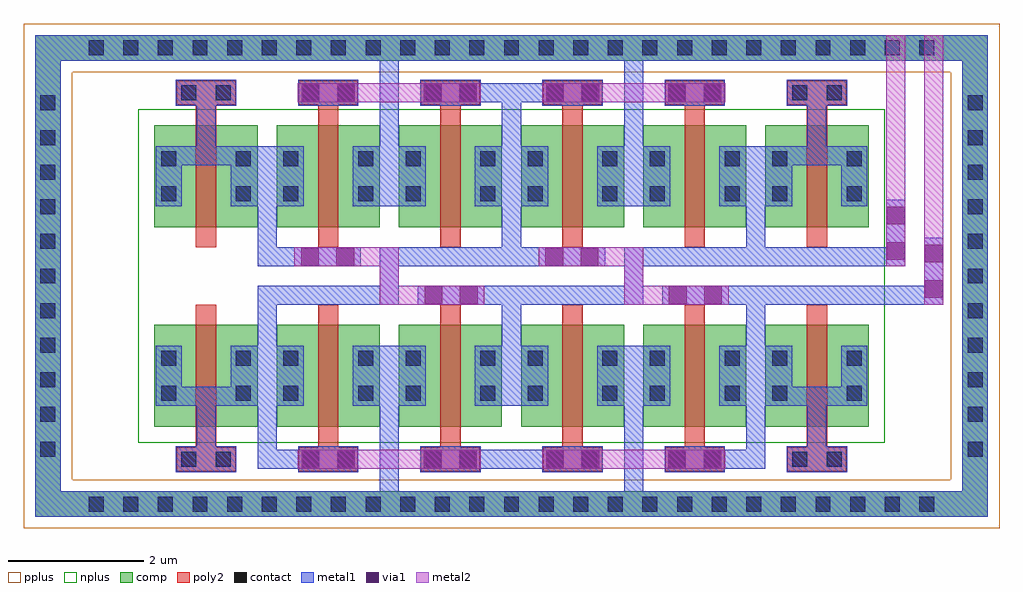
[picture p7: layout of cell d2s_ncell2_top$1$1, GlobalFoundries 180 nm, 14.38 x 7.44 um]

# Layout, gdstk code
import gdstk
lib = gdstk.Library(unit=1e-6, precision=5e-09)
def R(c, l, rs):  # rectangles x0, y0, x1, y1
    for r in rs: c.add(gdstk.rectangle(r[:2], r[2:], *l))
def A(c, l, x, y, w, h, nx, ny, dx, dy):  # array of equal rectangles
    R(c, l, [(x+i*dx, y+j*dy, x+i*dx+w, y+j*dy+h) for i in range(nx) for j in range(ny)])
comp = (22, 0)
poly2 = (30, 0)
pplus = (31, 0)
nplus = (32, 0)
contact = (33, 0)
metal1 = (34, 0)
via1 = (35, 0)
metal2 = (36, 0)

d2s_ncell2_1_1_1_1_1 = lib.new_cell('d2s_ncell2_1$1$1$1$1')
R(d2s_ncell2_1_1_1_1_1, comp, [(0,0.3,0.42,1.8), (0.42,0.3,1.1,1.8), (1.1,0.3,1.52,1.8)])
R(d2s_ncell2_1_1_1_1_1, poly2, [(0.61,0,0.91,2.1)])
R(d2s_ncell2_1_1_1_1_1, contact, [(0.1,0.685,0.32,0.905), (1.2,0.685,1.42,0.905), (0.1,1.195,0.32,1.415), (1.2,1.195,1.42,1.415)])
R(d2s_ncell2_1_1_1_1_1, metal1, [(0.02,0.605,0.4,1.495), (1.12,0.605,1.5,1.495)])

d2s_ncell2_4_1_1_1 = lib.new_cell('d2s_ncell2_4$1$1$1')
A(d2s_ncell2_4_1_1_1, poly2, 0.325, 2.1, 0.87, 0.36, 6, 1, 1.8, 0)
R(d2s_ncell2_4_1_1_1, contact, [(0.395,2.17,0.615,2.39), (0.905,2.17,1.125,2.39), (2.195,2.17,2.415,2.39), (2.705,2.17,2.925,2.39), (3.995,2.17,4.215,2.39), (4.505,2.17,4.725,2.39), (5.795,2.17,6.015,2.39), (6.305,2.17,6.525,2.39), (7.595,2.17,7.815,2.39), (8.105,2.17,8.325,2.39), (9.395,2.17,9.615,2.39), (9.905,2.17,10.125,2.39)])
A(d2s_ncell2_4_1_1_1, metal1, 1.5, 0.605, 0.32, 0.89, 5, 1, 1.8, 0)
A(d2s_ncell2_4_1_1_1, metal1, 0.315, 2.09, 0.89, 0.38, 6, 1, 1.8, 0)
R(d2s_ncell2_4_1_1_1, via1, [(2.17,2.15,2.43,2.41), (2.69,2.15,2.95,2.41), (3.97,2.15,4.23,2.41), (4.49,2.15,4.75,2.41), (5.77,2.15,6.03,2.41), (6.29,2.15,6.55,2.41), (7.57,2.15,7.83,2.41), (8.09,2.15,8.35,2.41)])
d2s_ncell2_4_1_1_1.add(gdstk.FlexPath([(9.4,1.355),(10.12,1.355)], 0.28, ends="flush", simple_path=True, layer=34, datatype=0))  # metal1
d2s_ncell2_4_1_1_1.add(gdstk.FlexPath([(9.76,2.09),(9.76,1.495)], 0.28, ends="flush", simple_path=True, layer=34, datatype=0))  # metal1
d2s_ncell2_4_1_1_1.add(gdstk.FlexPath([(0.4,1.355),(1.12,1.355)], 0.28, ends="flush", simple_path=True, layer=34, datatype=0))  # metal1
d2s_ncell2_4_1_1_1.add(gdstk.FlexPath([(0.76,2.09),(0.76,1.495)], 0.28, ends="flush", simple_path=True, layer=34, datatype=0))  # metal1
d2s_ncell2_4_1_1_1.add(gdstk.FlexPath([(2.11,2.28),(4.81,2.28)], 0.28, ends="flush", simple_path=True, layer=36, datatype=0))  # metal2
d2s_ncell2_4_1_1_1.add(gdstk.FlexPath([(5.71,2.28),(8.41,2.28)], 0.28, ends="flush", simple_path=True, layer=36, datatype=0))  # metal2
d2s_ncell2_4_1_1_1.add(gdstk.Reference(d2s_ncell2_1_1_1_1_1, (0,0)))
d2s_ncell2_4_1_1_1.add(gdstk.Reference(d2s_ncell2_1_1_1_1_1, (1.8,0)))
d2s_ncell2_4_1_1_1.add(gdstk.Reference(d2s_ncell2_1_1_1_1_1, (3.6,0)))
d2s_ncell2_4_1_1_1.add(gdstk.Reference(d2s_ncell2_1_1_1_1_1, (5.4,0)))
d2s_ncell2_4_1_1_1.add(gdstk.Reference(d2s_ncell2_1_1_1_1_1, (7.2,0)))
d2s_ncell2_4_1_1_1.add(gdstk.Reference(d2s_ncell2_1_1_1_1_1, (9,0)))

d2s_ncell2_top_1_1 = lib.new_cell('d2s_ncell2_top$1$1')
R(d2s_ncell2_top_1_1, nplus, [(1.69,1.26,12.69,6.18)])
A(d2s_ncell2_top_1_1, contact, 0.96, 0.25, 0.22, 0.22, 25, 2, 0.51, 6.72)
A(d2s_ncell2_top_1_1, contact, 0.25, 1.06, 0.22, 0.22, 1, 11, 0, 0.51)
A(d2s_ncell2_top_1_1, contact, 13.91, 1.06, 0.22, 0.22, 1, 11, 0, 0.51)
R(d2s_ncell2_top_1_1, via1, [(5.91,3.31,6.17,3.57), (6.43,3.31,6.69,3.57), (9.51,3.31,9.77,3.57), (10.03,3.31,10.29,3.57), (13.28,3.4,13.54,3.66), (4.09,3.87,4.35,4.13), (4.61,3.87,4.87,4.13), (7.69,3.87,7.95,4.13), (8.21,3.87,8.47,4.13), (13.28,3.92,13.54,4.18), (12.72,3.96,12.98,4.22), (12.72,4.48,12.98,4.74)])
d2s_ncell2_top_1_1.add(gdstk.FlexPath([(14.02,7.27),(14.02,0.36),(0.36,0.36),(0.36,7.08),(14.21,7.08)], 0.38, ends="flush", simple_path=True, layer=34, datatype=0))  # metal1
d2s_ncell2_top_1_1.add(gdstk.FlexPath([(8.99,5.635),(8.99,6.89)], 0.28, ends="flush", simple_path=True, layer=34, datatype=0))  # metal1
d2s_ncell2_top_1_1.add(gdstk.FlexPath([(5.39,5.635),(5.39,6.89)], 0.28, ends="flush", simple_path=True, layer=34, datatype=0))  # metal1
d2s_ncell2_top_1_1.add(gdstk.FlexPath([(5.39,1.805),(5.39,0.55)], 0.28, ends="flush", simple_path=True, layer=34, datatype=0))  # metal1
d2s_ncell2_top_1_1.add(gdstk.FlexPath([(8.99,1.805),(8.99,0.55)], 0.28, ends="flush", simple_path=True, layer=34, datatype=0))  # metal1
d2s_ncell2_top_1_1.add(gdstk.FlexPath([(12.85,4.84),(12.85,3.86)], 0.28, ends="flush", simple_path=True, layer=34, datatype=0))  # metal1
d2s_ncell2_top_1_1.add(gdstk.FlexPath([(10.93,3.44),(13.55,3.44)], 0.28, ends="flush", simple_path=True, layer=34, datatype=0))  # metal1
d2s_ncell2_top_1_1.add(gdstk.FlexPath([(10.93,4),(12.71,4)], 0.28, ends="flush", simple_path=True, layer=34, datatype=0))  # metal1
d2s_ncell2_top_1_1.add(gdstk.FlexPath([(6.79,3.44),(7.59,3.44)], 0.28, ends="flush", simple_path=True, layer=34, datatype=0))  # metal1
d2s_ncell2_top_1_1.add(gdstk.FlexPath([(3.59,4.745),(3.59,4.14)], 0.28, ends="flush", simple_path=True, layer=34, datatype=0))  # metal1
d2s_ncell2_top_1_1.add(gdstk.FlexPath([(6.79,4),(5.39,4),(5.39,3.44),(3.99,3.44)], 0.28, ends="flush", simple_path=True, layer=34, datatype=0))  # metal1
d2s_ncell2_top_1_1.add(gdstk.FlexPath([(4.97,4),(3.99,4)], 0.28, ends="flush", simple_path=True, layer=34, datatype=0))  # metal1
d2s_ncell2_top_1_1.add(gdstk.FlexPath([(6.79,3.44),(5.81,3.44)], 0.28, ends="flush", simple_path=True, layer=34, datatype=0))  # metal1
d2s_ncell2_top_1_1.add(gdstk.FlexPath([(6.79,4),(7.59,4)], 0.28, ends="flush", simple_path=True, layer=34, datatype=0))  # metal1
d2s_ncell2_top_1_1.add(gdstk.FlexPath([(10.79,4.745),(10.79,4.14)], 0.28, ends="flush", simple_path=True, layer=34, datatype=0))  # metal1
d2s_ncell2_top_1_1.add(gdstk.FlexPath([(3.99,4),(3.45,4)], 0.28, ends="flush", simple_path=True, layer=34, datatype=0))  # metal1
d2s_ncell2_top_1_1.add(gdstk.FlexPath([(10.39,4),(10.93,4)], 0.28, ends="flush", simple_path=True, layer=34, datatype=0))  # metal1
d2s_ncell2_top_1_1.add(gdstk.FlexPath([(7.19,4.745),(7.19,4.14)], 0.28, ends="flush", simple_path=True, layer=34, datatype=0))  # metal1
d2s_ncell2_top_1_1.add(gdstk.FlexPath([(10.39,4),(8.99,4),(8.99,3.44),(7.59,3.44)], 0.28, ends="flush", simple_path=True, layer=34, datatype=0))  # metal1
d2s_ncell2_top_1_1.add(gdstk.FlexPath([(8.57,4),(7.59,4)], 0.28, ends="flush", simple_path=True, layer=34, datatype=0))  # metal1
d2s_ncell2_top_1_1.add(gdstk.FlexPath([(10.39,3.44),(9.41,3.44)], 0.28, ends="flush", simple_path=True, layer=34, datatype=0))  # metal1
d2s_ncell2_top_1_1.add(gdstk.FlexPath([(7.19,2.695),(7.19,3.3)], 0.28, ends="flush", simple_path=True, layer=34, datatype=0))  # metal1
d2s_ncell2_top_1_1.add(gdstk.FlexPath([(10.39,3.44),(10.93,3.44)], 0.28, ends="flush", simple_path=True, layer=34, datatype=0))  # metal1
d2s_ncell2_top_1_1.add(gdstk.FlexPath([(3.99,3.44),(3.45,3.44)], 0.28, ends="flush", simple_path=True, layer=34, datatype=0))  # metal1
d2s_ncell2_top_1_1.add(gdstk.FlexPath([(10.79,2.695),(10.79,3.3)], 0.28, ends="flush", simple_path=True, layer=34, datatype=0))  # metal1
d2s_ncell2_top_1_1.add(gdstk.FlexPath([(3.59,2.695),(3.59,3.3)], 0.28, ends="flush", simple_path=True, layer=34, datatype=0))  # metal1
d2s_ncell2_top_1_1.add(gdstk.FlexPath([(13.41,4.28),(13.41,3.3)], 0.28, ends="flush", simple_path=True, layer=34, datatype=0))  # metal1
d2s_ncell2_top_1_1.add(gdstk.FlexPath([(6.735,6.42),(7.645,6.42)], 0.28, ends="flush", simple_path=True, layer=34, datatype=0))  # metal1
d2s_ncell2_top_1_1.add(gdstk.FlexPath([(6.735,1.02),(7.645,1.02)], 0.28, ends="flush", simple_path=True, layer=34, datatype=0))  # metal1
d2s_ncell2_top_1_1.add(gdstk.FlexPath([(7.19,5.635),(7.19,6.28)], 0.28, ends="flush", simple_path=True, layer=34, datatype=0))  # metal1
d2s_ncell2_top_1_1.add(gdstk.FlexPath([(10.79,1.805),(10.79,1.02),(10.335,1.02)], 0.28, ends="flush", simple_path=True, layer=34, datatype=0))  # metal1
d2s_ncell2_top_1_1.add(gdstk.FlexPath([(3.59,1.805),(3.59,1.02),(4.045,1.02)], 0.28, ends="flush", simple_path=True, layer=34, datatype=0))  # metal1
d2s_ncell2_top_1_1.add(gdstk.FlexPath([(14.02,7.27),(14.02,0.36),(0.36,0.36),(0.36,7.08),(14.21,7.08)], 0.38, ends="flush", simple_path=True, layer=22, datatype=0))  # comp
d2s_ncell2_top_1_1.add(gdstk.FlexPath([(10.39,3.44),(8.99,3.44),(8.99,4),(7.59,4)], 0.28, ends="flush", simple_path=True, layer=36, datatype=0))  # metal2
d2s_ncell2_top_1_1.add(gdstk.FlexPath([(6.79,3.44),(5.39,3.44),(5.39,4),(3.99,4)], 0.28, ends="flush", simple_path=True, layer=36, datatype=0))  # metal2
d2s_ncell2_top_1_1.add(gdstk.FlexPath([(12.85,3.86),(12.85,7.27)], 0.28, ends="flush", simple_path=True, layer=36, datatype=0))  # metal2
d2s_ncell2_top_1_1.add(gdstk.FlexPath([(13.41,3.3),(13.41,7.27)], 0.28, ends="flush", simple_path=True, layer=36, datatype=0))  # metal2
d2s_ncell2_top_1_1.add(gdstk.FlexPath([(14.02,7.44),(14.02,0.36),(0.36,0.36),(0.36,7.08),(14.38,7.08)], 0.72, ends="flush", simple_path=True, layer=31, datatype=0))  # pplus
d2s_ncell2_top_1_1.add(gdstk.Reference(d2s_ncell2_4_1_1_1, (1.93,4.14)))
d2s_ncell2_top_1_1.add(gdstk.Reference(d2s_ncell2_4_1_1_1, (1.93,3.3), x_reflection=True))

lib.write_gds('d2s_ncell2_top_1_1.gds')
